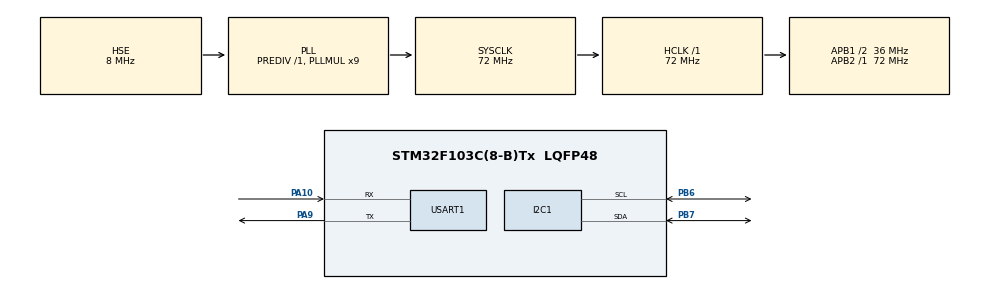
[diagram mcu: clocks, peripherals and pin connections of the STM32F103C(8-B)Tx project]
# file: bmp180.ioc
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Mcu.Family=STM32F1
Mcu.Name=STM32F103C(8-B)Tx
Mcu.Package=LQFP48
NVIC.PriorityGroup=NVIC_PRIORITYGROUP_4
PA10.Mode=Asynchronous
PA10.Signal=USART1_RX
PA13.Mode=Serial_Wire
PA13.Signal=SYS_JTMS-SWDIO
PA14.Mode=Serial_Wire
PA14.Signal=SYS_JTCK-SWCLK
PA9.Mode=Asynchronous
PA9.Signal=USART1_TX
PB6.Mode=I2C
PB6.Signal=I2C1_SCL
PB7.Mode=I2C
PB7.Signal=I2C1_SDA
PD0-OSC_IN.Mode=HSE-External-Oscillator
PD0-OSC_IN.Signal=RCC_OSC_IN
PD1-OSC_OUT.Mode=HSE-External-Oscillator
PD1-OSC_OUT.Signal=RCC_OSC_OUT
ProjectManager.HeapSize=0x200
ProjectManager.StackSize=0x400
ProjectManager.TargetToolchain=TrueSTUDIO
RCC.AHBFreq_Value=72000000
RCC.APB1CLKDivider=RCC_HCLK_DIV2
RCC.APB1Freq_Value=36000000
RCC.APB1TimFreq_Value=72000000
RCC.APB2Freq_Value=72000000
RCC.APB2TimFreq_Value=72000000
RCC.HCLKFreq_Value=72000000
RCC.PLLMUL=RCC_PLL_MUL9
RCC.PLLSourceVirtual=RCC_PLLSOURCE_HSE
RCC.SYSCLKFreq_VALUE=72000000
RCC.SYSCLKSource=RCC_SYSCLKSOURCE_PLLCLK
RCC.USBFreq_Value=72000000
USART1.VirtualMode=VM_ASYNC
board=custom

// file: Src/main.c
/* USER CODE BEGIN Header */
/**
  ******************************************************************************
  * @file           : main.c
  * @brief          : Main program body
  ******************************************************************************
  ** This notice applies to any and all portions of this file
  * that are not between comment pairs USER CODE BEGIN and
  * USER CODE END. Other portions of this file, whether
  * inserted by the user or by software development tools
  * are owned by their respective copyright owners.
  *
  * COPYRIGHT(c) 2019 STMicroelectronics
  *
  * Redistribution and use in source and binary forms, with or without modification,
  * are permitted provided that the following conditions are met:
  *   1. Redistributions of source code must retain the above copyright notice,
  *      this list of conditions and the following disclaimer.
  *   2. Redistributions in binary form must reproduce the above copyright notice,
  *      this list of conditions and the following disclaimer in the documentation
  *      and/or other materials provided with the distribution.
  *   3. Neither the name of STMicroelectronics nor the names of its contributors
  *      may be used to endorse or promote products derived from this software
  *      without specific prior written permission.
  *
  * THIS SOFTWARE IS PROVIDED BY THE COPYRIGHT HOLDERS AND CONTRIBUTORS "AS IS"
  * AND ANY EXPRESS OR IMPLIED WARRANTIES, INCLUDING, BUT NOT LIMITED TO, THE
  * IMPLIED WARRANTIES OF MERCHANTABILITY AND FITNESS FOR A PARTICULAR PURPOSE ARE
  * DISCLAIMED. IN NO EVENT SHALL THE COPYRIGHT HOLDER OR CONTRIBUTORS BE LIABLE
  * FOR ANY DIRECT, INDIRECT, INCIDENTAL, SPECIAL, EXEMPLARY, OR CONSEQUENTIAL
  * DAMAGES (INCLUDING, BUT NOT LIMITED TO, PROCUREMENT OF SUBSTITUTE GOODS OR
  * SERVICES; LOSS OF USE, DATA, OR PROFITS; OR BUSINESS INTERRUPTION) HOWEVER
  * CAUSED AND ON ANY THEORY OF LIABILITY, WHETHER IN CONTRACT, STRICT LIABILITY,
  * OR TORT (INCLUDING NEGLIGENCE OR OTHERWISE) ARISING IN ANY WAY OUT OF THE USE
  * OF THIS SOFTWARE, EVEN IF ADVISED OF THE POSSIBILITY OF SUCH DAMAGE.
  *
  ******************************************************************************
  */
/* USER CODE END Header */

#include "main.h"

/* USER CODE BEGIN Includes */
#include "string.h"
#include "bmp180.h"
/* USER CODE END Includes */

I2C_HandleTypeDef hi2c1;

UART_HandleTypeDef huart1;

void SystemClock_Config(void);
static void MX_GPIO_Init(void);
static void MX_USART1_UART_Init(void);
static void MX_I2C1_Init(void);

/* USER CODE BEGIN 0 */
void I2C_Scan(I2C_HandleTypeDef *hi2c)
{
    char info[] = "Scanning I2C bus...\n";
    HAL_UART_Transmit(&huart1, (uint8_t*)info, strlen(info), 1000);

    for(uint16_t i = 0; i < 128; i++)
    {
        if(HAL_I2C_IsDeviceReady(hi2c, i << 1, 1, 100) == HAL_OK)
        {
        	char msg[64] = {0,};
            snprintf(msg, 64, "Device: 0x%02X\n", i);
            HAL_UART_Transmit(&huart1, (uint8_t*)msg, strlen(msg), 1000);
        }
    }
}

void I2C_Error(char *er, uint32_t status) // ошибки i2c
{
	char str[64] = {0,};

	switch(status)
	{
		case HAL_ERROR:
			snprintf(str, 64, "%s - HAL_ERROR\n", er);
			HAL_UART_Transmit(&huart1, (uint8_t*)str, strlen(str), 1000);
		break;

		case HAL_BUSY:
			snprintf(str, 64, "%s - HAL_BUSY\n", er);
			HAL_UART_Transmit(&huart1, (uint8_t*)str, strlen(str), 1000);
		break;

		case HAL_TIMEOUT:
			snprintf(str, 64, "%s - HAL_TIMEOUT\n", er);
			HAL_UART_Transmit(&huart1, (uint8_t*)str, strlen(str), 1000);
		break;

		default:
		break;
	}

	uint32_t err = HAL_I2C_GetError(&hi2c1);

	switch(err)
	{
		case HAL_I2C_ERROR_NONE:
			snprintf(str, 64, "HAL_I2C_ERROR_NONE\n");
			HAL_UART_Transmit(&huart1, (uint8_t*)str, strlen(str), 1000);
		break;

		case HAL_I2C_ERROR_BERR:
			snprintf(str, 64, "HAL_I2C_ERROR_BERR\n");
			HAL_UART_Transmit(&huart1, (uint8_t*)str, strlen(str), 1000);
		break;

		case HAL_I2C_ERROR_ARLO:
			snprintf(str, 64, "HAL_I2C_ERROR_ARLO\n");
			HAL_UART_Transmit(&huart1, (uint8_t*)str, strlen(str), 1000);
		break;

		case HAL_I2C_ERROR_AF:
			snprintf(str, 64, "HAL_I2C_ERROR_AF\n");
			HAL_UART_Transmit(&huart1, (uint8_t*)str, strlen(str), 1000);
		break;

		case HAL_I2C_ERROR_OVR:
			snprintf(str, 64, "HAL_I2C_ERROR_OVR\n");
			HAL_UART_Transmit(&huart1, (uint8_t*)str, strlen(str), 1000);
		break;

		case HAL_I2C_ERROR_DMA:
			snprintf(str, 64, "HAL_I2C_ERROR_DMA\n");
			HAL_UART_Transmit(&huart1, (uint8_t*)str, strlen(str), 1000);
		break;

		case HAL_I2C_ERROR_TIMEOUT:
			snprintf(str, 64, "HAL_I2C_ERROR_TIMEOUT\n");
			HAL_UART_Transmit(&huart1, (uint8_t*)str, strlen(str), 1000);
		break;

		default:
		break;
	}

	while(1){}; // после вывода ошибки программа зацикливается
}
/* USER CODE END 0 */

int main(void)
{

  /* MCU Configuration--------------------------------------------------------*/

  /* Reset of all peripherals, Initializes the Flash interface and the Systick. */
  HAL_Init();

  /* Configure the system clock */
  SystemClock_Config();

  /* Initialize all configured peripherals */
  MX_GPIO_Init();
  MX_USART1_UART_Init();
  MX_I2C1_Init();
  /* USER CODE BEGIN 2 */

  I2C_Scan(&hi2c1); // НОМЕР I2C
  BMP_i2c_init(&hi2c1); // НОМЕР I2C

  /* USER CODE END 2 */

  /* Infinite loop */
  /* USER CODE BEGIN WHILE */
  while (1)
  {
	  char trans_str[64] = {0,};

	  BMP_setControl(BMP_MODE_TEMPERATURE);
	  HAL_Delay(BMP_getMeasureDelayMilliseconds(BMP_MODE_TEMPERATURE));
	  float t = BMP_getTemperatureC();

	  BMP_setControl(BMP_MODE_PRESSURE_3);
	  HAL_Delay(BMP_getMeasureDelayMilliseconds(BMP_MODE_PRESSURE_3));
	  float p = BMP_getPressure() * 0.00750062;

	  snprintf(trans_str, 64, "Temp: %.1f  Pressure: %.2f\n", t , p);
	  HAL_UART_Transmit(&huart1, (uint8_t*)trans_str, strlen(trans_str), 1000);

	  uint32_t t_dec = t;
	  uint32_t p_dec = p;

	  snprintf(trans_str, 64, "t_dec: %lu  p_dec: %lu\n", t_dec , p_dec);
	  HAL_UART_Transmit(&huart1, (uint8_t*)trans_str, strlen(trans_str), 1000);

	  HAL_Delay(200);
    /* USER CODE END WHILE */

  }
}

void SystemClock_Config(void)
{
  RCC_OscInitTypeDef RCC_OscInitStruct = {0};
  RCC_ClkInitTypeDef RCC_ClkInitStruct = {0};

  /**Initializes the CPU, AHB and APB busses clocks
  */
  RCC_OscInitStruct.OscillatorType = RCC_OSCILLATORTYPE_HSE;
  RCC_OscInitStruct.HSEState = RCC_HSE_ON;
  RCC_OscInitStruct.HSEPredivValue = RCC_HSE_PREDIV_DIV1;
  RCC_OscInitStruct.HSIState = RCC_HSI_ON;
  RCC_OscInitStruct.PLL.PLLState = RCC_PLL_ON;
  RCC_OscInitStruct.PLL.PLLSource = RCC_PLLSOURCE_HSE;
  RCC_OscInitStruct.PLL.PLLMUL = RCC_PLL_MUL9;
  if (HAL_RCC_OscConfig(&RCC_OscInitStruct) != HAL_OK)
  {
    Error_Handler();
  }
  /**Initializes the CPU, AHB and APB busses clocks
  */
  RCC_ClkInitStruct.ClockType = RCC_CLOCKTYPE_HCLK|RCC_CLOCKTYPE_SYSCLK
                              |RCC_CLOCKTYPE_PCLK1|RCC_CLOCKTYPE_PCLK2;
  RCC_ClkInitStruct.SYSCLKSource = RCC_SYSCLKSOURCE_PLLCLK;
  RCC_ClkInitStruct.AHBCLKDivider = RCC_SYSCLK_DIV1;
  RCC_ClkInitStruct.APB1CLKDivider = RCC_HCLK_DIV2;
  RCC_ClkInitStruct.APB2CLKDivider = RCC_HCLK_DIV1;

  if (HAL_RCC_ClockConfig(&RCC_ClkInitStruct, FLASH_LATENCY_2) != HAL_OK)
  {
    Error_Handler();
  }
}

static void MX_I2C1_Init(void)
{

  hi2c1.Instance = I2C1;
  hi2c1.Init.ClockSpeed = 100000;
  hi2c1.Init.DutyCycle = I2C_DUTYCYCLE_2;
  hi2c1.Init.OwnAddress1 = 0;
  hi2c1.Init.AddressingMode = I2C_ADDRESSINGMODE_7BIT;
  hi2c1.Init.DualAddressMode = I2C_DUALADDRESS_DISABLE;
  hi2c1.Init.OwnAddress2 = 0;
  hi2c1.Init.GeneralCallMode = I2C_GENERALCALL_DISABLE;
  hi2c1.Init.NoStretchMode = I2C_NOSTRETCH_DISABLE;
  if (HAL_I2C_Init(&hi2c1) != HAL_OK)
  {
    Error_Handler();
  }

}

static void MX_USART1_UART_Init(void)
{

  huart1.Instance = USART1;
  huart1.Init.BaudRate = 115200;
  huart1.Init.WordLength = UART_WORDLENGTH_8B;
  huart1.Init.StopBits = UART_STOPBITS_1;
  huart1.Init.Parity = UART_PARITY_NONE;
  huart1.Init.Mode = UART_MODE_TX_RX;
  huart1.Init.HwFlowCtl = UART_HWCONTROL_NONE;
  huart1.Init.OverSampling = UART_OVERSAMPLING_16;
  if (HAL_UART_Init(&huart1) != HAL_OK)
  {
    Error_Handler();
  }

}

static void MX_GPIO_Init(void)
{

  /* GPIO Ports Clock Enable */
  __HAL_RCC_GPIOD_CLK_ENABLE();
  __HAL_RCC_GPIOA_CLK_ENABLE();
  __HAL_RCC_GPIOB_CLK_ENABLE();

}

void Error_Handler(void)
{
}

/************************ (C) COPYRIGHT STMicroelectronics *****END OF FILE****/
